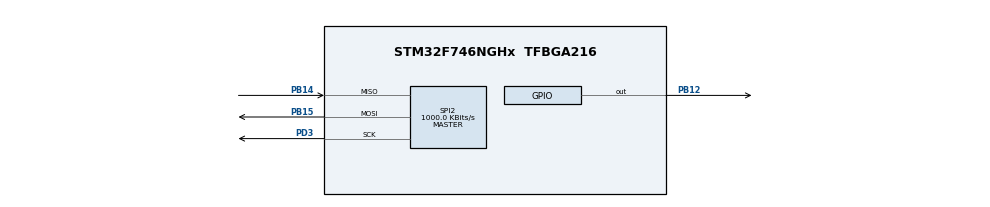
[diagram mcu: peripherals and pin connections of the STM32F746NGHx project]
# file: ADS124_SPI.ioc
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Mcu.Family=STM32F7
Mcu.Name=STM32F746NGHx
Mcu.Package=TFBGA216
NVIC.PriorityGroup=NVIC_PRIORITYGROUP_4
PA13.Mode=JTAG_5_pins
PA13.Signal=SYS_JTMS-SWDIO
PA14.Mode=JTAG_5_pins
PA14.Signal=SYS_JTCK-SWCLK
PA15.Mode=JTAG_5_pins
PA15.Signal=SYS_JTDI
PB12.Signal=GPIO_Output
PB14.Mode=Full_Duplex_Master
PB14.Signal=SPI2_MISO
PB15.Mode=Full_Duplex_Master
PB15.Signal=SPI2_MOSI
PB3.Mode=JTAG_5_pins
PB3.Signal=SYS_JTDO-SWO
PB4.Mode=JTAG_5_pins
PB4.Signal=SYS_JTRST
PD3.Mode=Full_Duplex_Master
PD3.Signal=SPI2_SCK
ProjectManager.HeapSize=0x200
ProjectManager.StackSize=0x400
ProjectManager.TargetToolchain=STM32CubeIDE
RCC.HSE_VALUE=25000000
RCC.HSI_VALUE=16000000
RCC.LSE_VALUE=32768
RCC.USBFreq_Value=96000000
RCC.VCOOutputFreq_Value=192000000
SPI2.BaudRatePrescaler=SPI_BAUDRATEPRESCALER_16
SPI2.CLKPhase=SPI_PHASE_2EDGE
SPI2.CalculateBaudRate=1000.0 KBits/s
SPI2.DataSize=SPI_DATASIZE_8BIT
SPI2.Direction=SPI_DIRECTION_2LINES
SPI2.Mode=SPI_MODE_MASTER
SPI2.VirtualType=VM_MASTER
board=custom

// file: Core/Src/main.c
/* USER CODE BEGIN Header */
/**
  ******************************************************************************
  * @file           : main.c
  * @brief          : Main program body
  ******************************************************************************
  * @attention
  *
  * Copyright (c) 2023 STMicroelectronics.
  * All rights reserved.
  *
  * This software is licensed under terms that can be found in the LICENSE file
  * in the root directory of this software component.
  * If no LICENSE file comes with this software, it is provided AS-IS.
  *
  ******************************************************************************
  */
/* USER CODE END Header */
#include "main.h"

/* USER CODE BEGIN PM */
#define  CS_PORT                            GPIOB
#define  CS_PIN                               GPIO_PIN_12
#define  WRITE_MSB                        0x40
#define  READ_MSB                          0x20
#define  NUMBER_REG_MSB         0xE0
/* USER CODE END PM */

SPI_HandleTypeDef hspi2;

void SystemClock_Config(void);
static void MX_GPIO_Init(void);
static void MX_SPI2_Init(void);

/* USER CODE BEGIN 0 */
// Reading the register value of the ADS124S08
uint8_t ADS124_RREG(uint16_t address, uint8_t numReg)
{
	uint8_t regAdd[2];
	regAdd[0] = (READ_MSB| address);  //Sending the first byte "001r rrrr "  where r rrrr is register address
	regAdd[1] = (~(NUMBER_REG_MSB) & (numReg -1));    // Sending the byte "000n nnnn" whre n nnnn is no of registers you want to read
	uint8_t  receiveReg[2];
	HAL_GPIO_WritePin(CS_PORT, CS_PIN , GPIO_PIN_RESET);
	HAL_SPI_TransmitReceive(&hspi2, &regAdd, &receiveReg, numReg, 10);   // transmit the address and receive the register value.
	HAL_GPIO_WritePin(CS_PORT, CS_PIN , GPIO_PIN_SET);
}

// Writing the register value of the ADS124S08
void ADS124_WREG(uint8_t address, uint8_t numReg, uint8_t data[numReg])
{
	uint8_t modifyAdd[3];
	modifyAdd[0] = (WRITE_MSB | address);             //Sending the first byte "010r rrrr "  where r rrrr is register address
	modifyAdd[1] = (~(NUMBER_REG_MSB) & (numReg -1));     // Sending the byte "000n nnnn" whre n nnnn is no of registers you want to write
	modifyAdd[2] = &data;              //data you want to modify in the register.
	uint8_t  modifyRegValue[2];
	HAL_GPIO_WritePin(CS_PORT, CS_PIN , GPIO_PIN_RESET);
	HAL_SPI_Transmit(&hspi2, &modifyAdd, 3, 10);                      // transmit the address.
	HAL_GPIO_WritePin(CS_PORT, CS_PIN , GPIO_PIN_SET);
}

// Reseting the ADS124S08
void ADS124_hardRESET(void)
{
	uint8_t  reset = 0x06;   // Reset command can be 06h or 07h
	HAL_GPIO_WritePin(CS_PORT, CS_PIN , GPIO_PIN_RESET);
	HAL_SPI_Transmit(&hspi2, &reset, 1, 10);
	HAL_GPIO_WritePin(CS_PORT, CS_PIN , GPIO_PIN_SET);
}

/* USER CODE END 0 */

int main(void)
{

  /* MCU Configuration--------------------------------------------------------*/

  /* Reset of all peripherals, Initializes the Flash interface and the Systick. */
  HAL_Init();

  /* Configure the system clock */
  SystemClock_Config();

  /* Initialize all configured peripherals */
  MX_GPIO_Init();
  MX_SPI2_Init();
  /* USER CODE BEGIN 2 */
  ADS124_hardRESET();
  ADS124_RREG(0x05, 0x01);
  ADS124_WREG(0x06, 0x00, 0x01);
  /* USER CODE END 2 */

  /* Infinite loop */
  while (1)
  {

  }
}

void SystemClock_Config(void)
{
  RCC_OscInitTypeDef RCC_OscInitStruct = {0};
  RCC_ClkInitTypeDef RCC_ClkInitStruct = {0};

  /** Configure the main internal regulator output voltage
  */
  __HAL_RCC_PWR_CLK_ENABLE();
  __HAL_PWR_VOLTAGESCALING_CONFIG(PWR_REGULATOR_VOLTAGE_SCALE3);

  /** Initializes the RCC Oscillators according to the specified parameters
  * in the RCC_OscInitTypeDef structure.
  */
  RCC_OscInitStruct.OscillatorType = RCC_OSCILLATORTYPE_HSI;
  RCC_OscInitStruct.HSIState = RCC_HSI_ON;
  RCC_OscInitStruct.HSICalibrationValue = RCC_HSICALIBRATION_DEFAULT;
  RCC_OscInitStruct.PLL.PLLState = RCC_PLL_NONE;
  if (HAL_RCC_OscConfig(&RCC_OscInitStruct) != HAL_OK)
  {
    Error_Handler();
  }

  /** Initializes the CPU, AHB and APB buses clocks
  */
  RCC_ClkInitStruct.ClockType = RCC_CLOCKTYPE_HCLK|RCC_CLOCKTYPE_SYSCLK
                              |RCC_CLOCKTYPE_PCLK1|RCC_CLOCKTYPE_PCLK2;
  RCC_ClkInitStruct.SYSCLKSource = RCC_SYSCLKSOURCE_HSI;
  RCC_ClkInitStruct.AHBCLKDivider = RCC_SYSCLK_DIV1;
  RCC_ClkInitStruct.APB1CLKDivider = RCC_HCLK_DIV1;
  RCC_ClkInitStruct.APB2CLKDivider = RCC_HCLK_DIV1;

  if (HAL_RCC_ClockConfig(&RCC_ClkInitStruct, FLASH_LATENCY_0) != HAL_OK)
  {
    Error_Handler();
  }
}

static void MX_SPI2_Init(void)
{

  /* SPI2 parameter configuration*/
  hspi2.Instance = SPI2;
  hspi2.Init.Mode = SPI_MODE_MASTER;
  hspi2.Init.Direction = SPI_DIRECTION_2LINES;
  hspi2.Init.DataSize = SPI_DATASIZE_8BIT;
  hspi2.Init.CLKPolarity = SPI_POLARITY_LOW;
  hspi2.Init.CLKPhase = SPI_PHASE_2EDGE;
  hspi2.Init.NSS = SPI_NSS_SOFT;
  hspi2.Init.BaudRatePrescaler = SPI_BAUDRATEPRESCALER_16;
  hspi2.Init.FirstBit = SPI_FIRSTBIT_MSB;
  hspi2.Init.TIMode = SPI_TIMODE_DISABLE;
  hspi2.Init.CRCCalculation = SPI_CRCCALCULATION_DISABLE;
  hspi2.Init.CRCPolynomial = 7;
  hspi2.Init.CRCLength = SPI_CRC_LENGTH_DATASIZE;
  hspi2.Init.NSSPMode = SPI_NSS_PULSE_DISABLE;
  if (HAL_SPI_Init(&hspi2) != HAL_OK)
  {
    Error_Handler();
  }

}

static void MX_GPIO_Init(void)
{
  GPIO_InitTypeDef GPIO_InitStruct = {0};

  /* GPIO Ports Clock Enable */
  __HAL_RCC_GPIOB_CLK_ENABLE();
  __HAL_RCC_GPIOA_CLK_ENABLE();
  __HAL_RCC_GPIOD_CLK_ENABLE();

  /*Configure GPIO pin Output Level */
  HAL_GPIO_WritePin(GPIOB, GPIO_PIN_12, GPIO_PIN_RESET);

  /*Configure GPIO pin : PB12 */
  GPIO_InitStruct.Pin = GPIO_PIN_12;
  GPIO_InitStruct.Mode = GPIO_MODE_OUTPUT_PP;
  GPIO_InitStruct.Pull = GPIO_NOPULL;
  GPIO_InitStruct.Speed = GPIO_SPEED_FREQ_LOW;
  HAL_GPIO_Init(GPIOB, &GPIO_InitStruct);

}

void Error_Handler(void)
{
  __disable_irq();
  while (1)
  {
  }
}
